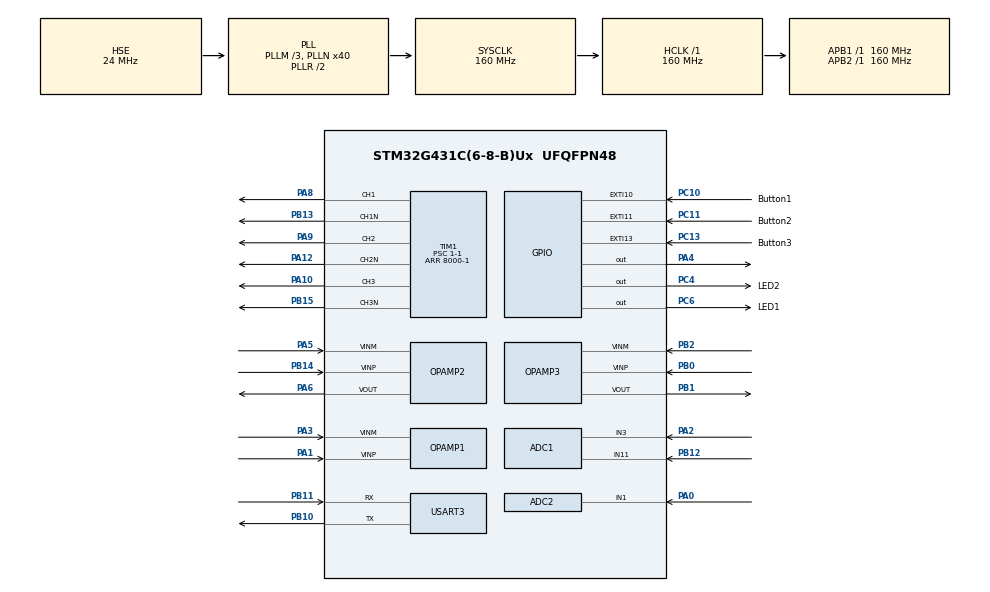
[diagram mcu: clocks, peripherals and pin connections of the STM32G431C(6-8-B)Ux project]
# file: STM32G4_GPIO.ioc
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ADC1.Channel-0\#ChannelRegularConversion=ADC_CHANNEL_11
ADC1.ClockPrescaler=ADC_CLOCK_ASYNC_DIV4
ADC1.EnableInjectedConversion=ENABLE
ADC1.ExternalTrigInjecConv=ADC_EXTERNALTRIGINJEC_T1_CC4
ADC1.InjNumberOfConversion=2
ADC1.InjectedChannel-1\#ChannelInjectedConversion=ADC_CHANNEL_3
ADC1.InjectedChannel-2\#ChannelInjectedConversion=ADC_CHANNEL_12
ADC1.InjectedOffsetNumber-1\#ChannelInjectedConversion=ADC_OFFSET_NONE
ADC1.InjectedOffsetNumber-2\#ChannelInjectedConversion=ADC_OFFSET_NONE
ADC1.InjectedRank-1\#ChannelInjectedConversion=1
ADC1.InjectedRank-2\#ChannelInjectedConversion=2
ADC1.InjectedSamplingTime-1\#ChannelInjectedConversion=ADC_SAMPLETIME_6CYCLES_5
ADC1.InjectedSamplingTime-2\#ChannelInjectedConversion=ADC_SAMPLETIME_6CYCLES_5
ADC1.NbrOfConversionFlag=1
ADC1.OffsetNumber-0\#ChannelRegularConversion=ADC_OFFSET_NONE
ADC1.Rank-0\#ChannelRegularConversion=1
ADC1.SamplingTime-0\#ChannelRegularConversion=ADC_SAMPLETIME_2CYCLES_5
ADC1.master=1
ADC2.Channel-2\#ChannelRegularConversion=ADC_CHANNEL_1
ADC2.ClockPrescaler=ADC_CLOCK_ASYNC_DIV4
ADC2.EnableInjectedConversion=ENABLE
ADC2.EnableRegularConversion=ENABLE
ADC2.ExternalTrigInjecConv=ADC_EXTERNALTRIGINJEC_T1_CC4
ADC2.InjNumberOfConversion=1
ADC2.InjectedChannel-1\#ChannelInjectedConversion=ADC_CHANNEL_3
ADC2.InjectedOffsetNumber-1\#ChannelInjectedConversion=ADC_OFFSET_NONE
ADC2.InjectedRank-1\#ChannelInjectedConversion=1
ADC2.InjectedSamplingTime-1\#ChannelInjectedConversion=ADC_SAMPLETIME_6CYCLES_5
ADC2.NbrOfConversionFlag=1
ADC2.OffsetNumber-2\#ChannelRegularConversion=ADC_OFFSET_NONE
ADC2.Rank-2\#ChannelRegularConversion=1
ADC2.SamplingTime-2\#ChannelRegularConversion=ADC_SAMPLETIME_2CYCLES_5
COMP1.TriggerMode=COMP_TRIGGERMODE_IT_RISING
COMP3.TriggerMode=COMP_TRIGGERMODE_IT_RISING
Dma.Request0=USART3_TX
Dma.USART3_TX.0.Direction=DMA_MEMORY_TO_PERIPH
Dma.USART3_TX.0.EventEnable=DISABLE
Dma.USART3_TX.0.Instance=DMA1_Channel1
Dma.USART3_TX.0.MemDataAlignment=DMA_MDATAALIGN_BYTE
Dma.USART3_TX.0.MemInc=DMA_MINC_ENABLE
Dma.USART3_TX.0.Mode=DMA_NORMAL
Dma.USART3_TX.0.PeriphDataAlignment=DMA_PDATAALIGN_BYTE
Dma.USART3_TX.0.PeriphInc=DMA_PINC_DISABLE
Dma.USART3_TX.0.Polarity=HAL_DMAMUX_REQ_GEN_RISING
Dma.USART3_TX.0.Priority=DMA_PRIORITY_LOW
Dma.USART3_TX.0.RequestNumber=1
Dma.USART3_TX.0.SignalID=NONE
Dma.USART3_TX.0.SyncEnable=DISABLE
Dma.USART3_TX.0.SyncPolarity=HAL_DMAMUX_SYNC_NO_EVENT
Dma.USART3_TX.0.SyncRequestNumber=1
Dma.USART3_TX.0.SyncSignalID=NONE
Mcu.Family=STM32G4
Mcu.Name=STM32G431C(6-8-B)Ux
Mcu.Package=UFQFPN48
NVIC.ADC1_2_IRQn=true\:0\:0\:false\:false\:true\:true\:true
NVIC.COMP1_2_3_IRQn=true\:0\:0\:false\:false\:true\:false\:true
NVIC.DMA1_Channel1_IRQn=true\:0\:0\:false\:false\:true\:false\:true
NVIC.EXTI15_10_IRQn=true\:0\:0\:false\:false\:true\:true\:true
NVIC.PriorityGroup=NVIC_PRIORITYGROUP_4
NVIC.TIM1_BRK_TIM15_IRQn=true\:0\:0\:false\:false\:true\:true\:true
NVIC.TIM1_CC_IRQn=true\:0\:0\:false\:false\:true\:true\:true
NVIC.TIM1_UP_TIM16_IRQn=true\:0\:0\:false\:false\:true\:true\:true
NVIC.USART3_IRQn=true\:0\:0\:false\:false\:true\:true\:true
PA0.Signal=SharedAnalog_PA0
PA1.Mode=Standalone
PA1.Signal=OPAMP1_VINP
PA10.Signal=S_TIM1_CH3
PA12.Mode=PWM Generation2 CH2 CH2N
PA12.Signal=TIM1_CH2N
PA13.Mode=Serial_Wire
PA13.Signal=SYS_JTMS-SWDIO
PA14.Mode=Serial_Wire
PA14.Signal=SYS_JTCK-SWCLK
PA2.Signal=SharedAnalog_PA2
PA3.Mode=Standalone
PA3.Signal=OPAMP1_VINM
PA4.Signal=GPIO_Output
PA5.Mode=Standalone
PA5.Signal=OPAMP2_VINM
PA6.Signal=SharedAnalog_PA6
PA8.Signal=S_TIM1_CH1
PA9.Signal=S_TIM1_CH2
PB0.Mode=Standalone
PB0.Signal=OPAMP3_VINP
PB1.Signal=SharedAnalog_PB1
PB10.Mode=Asynchronous
PB10.Signal=USART3_TX
PB11.Mode=Asynchronous
PB11.Signal=USART3_RX
PB12.Mode=IN11-Single-Ended
PB12.Signal=ADC1_IN11
PB13.Mode=PWM Generation1 CH1 CH1N
PB13.Signal=TIM1_CH1N
PB14.Mode=Standalone
PB14.Signal=OPAMP2_VINP
PB15.Mode=PWM Generation3 CH3 CH3N
PB15.Signal=TIM1_CH3N
PB2.Mode=Standalone
PB2.Signal=OPAMP3_VINM
PC10.GPIO_Label=Button1
PC10.Signal=GPXTI10
PC11.GPIO_Label=Button2
PC11.Signal=GPXTI11
PC13.GPIO_Label=Button3
PC13.Signal=GPXTI13
PC4.GPIO_Label=LED2
PC4.Signal=GPIO_Output
PC6.GPIO_Label=LED1
PC6.Signal=GPIO_Output
PF0-OSC_IN.Mode=HSE-External-Oscillator
PF0-OSC_IN.Signal=RCC_OSC_IN
PF1-OSC_OUT.Mode=HSE-External-Oscillator
PF1-OSC_OUT.Signal=RCC_OSC_OUT
ProjectManager.HeapSize=0x200
ProjectManager.StackSize=0x400
ProjectManager.TargetToolchain=MDK-ARM V5.32
RCC.ADC12Freq_Value=160000000
RCC.AHBFreq_Value=160000000
RCC.APB1Freq_Value=160000000
RCC.APB1TimFreq_Value=160000000
RCC.APB2Freq_Value=160000000
RCC.APB2TimFreq_Value=160000000
RCC.CortexFreq_Value=160000000
RCC.EXTERNAL_CLOCK_VALUE=12288000
RCC.HCLKFreq_Value=160000000
RCC.HSE_VALUE=24000000
RCC.HSI48_VALUE=48000000
RCC.HSI_VALUE=16000000
RCC.LSE_VALUE=32768
RCC.PLLM=RCC_PLLM_DIV3
RCC.PLLN=40
RCC.PLLSourceVirtual=RCC_PLLSOURCE_HSE
RCC.SYSCLKFreq_VALUE=160000000
RCC.SYSCLKSource=RCC_SYSCLKSOURCE_PLLCLK
RCC.USBFreq_Value=160000000
RCC.VCOOutputFreq_Value=320000000
SH.S_TIM1_CH1.0=TIM1_CH1,PWM Generation1 CH1 CH1N
SH.S_TIM1_CH2.0=TIM1_CH2,PWM Generation2 CH2 CH2N
SH.S_TIM1_CH3.0=TIM1_CH3,PWM Generation3 CH3 CH3N
SH.SharedAnalog_PA0.0=ADC2_IN1,IN1-Single-Ended
SH.SharedAnalog_PA0.1=COMP3_INP,INP
SH.SharedAnalog_PA2.0=ADC1_IN3,IN3-Single-Ended
SH.SharedAnalog_PA2.1=OPAMP1_VOUT,Standalone
SH.SharedAnalog_PA6.0=OPAMP2_VOUT,Standalone
SH.SharedAnalog_PA6.1=ADC2_IN3,IN3-Single-Ended
SH.SharedAnalog_PB1.0=OPAMP3_VOUT,Standalone
SH.SharedAnalog_PB1.1=ADC1_IN12,IN12-Single-Ended
SH.SharedAnalog_PB1.2=COMP1_INP,INP
TIM1.BreakFilter=2
TIM1.BreakState=TIM_BREAK_ENABLE
TIM1.Channel-PWM\ Generation1\ CH1\ CH1N=TIM_CHANNEL_1
TIM1.Channel-PWM\ Generation2\ CH2\ CH2N=TIM_CHANNEL_2
TIM1.Channel-PWM\ Generation3\ CH3\ CH3N=TIM_CHANNEL_3
TIM1.Channel-PWM\ Generation4\ No\ Output=TIM_CHANNEL_4
TIM1.ClockDivision=TIM_CLOCKDIVISION_DIV2
TIM1.CounterMode=TIM_COUNTERMODE_CENTERALIGNED1
TIM1.DeadTime=120
TIM1.OCMode_PWM-PWM\ Generation4\ No\ Output=TIM_OCMODE_PWM2
TIM1.PeriodNoDither=8000-1
TIM1.Prescaler=1-1
TIM1.PulseNoDither_4=8000-2
TIM1.RepetitionCounter=1
TIM1.SourceBRKCOMP1=TIM_BREAKINPUTSOURCE_ENABLE
TIM1.TIM_MasterOutputTrigger=TIM_TRGO_OC4REF
USART3.VirtualMode-Asynchronous=VM_ASYNC
VP_COMP1_VS_DAC3OUT1.Mode=INM_DAC3OUT1
VP_COMP3_VS_DAC1OUT1.Mode=INM_DAC1OUT1
VP_DAC1_VS_DACI1.Mode=DAC_OUT1_Int
VP_DAC3_VS_DACI1.Mode=DAC_OUT1_Int
VP_SYS_VS_DBSignals.Mode=DisableDeadBatterySignals
VP_TIM1_VS_ClockSourceINT.Mode=Internal
VP_TIM1_VS_no_output4.Mode=PWM Generation4 No Output
board=custom

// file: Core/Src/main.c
/* USER CODE BEGIN Header */
/**
  ******************************************************************************
  * @file           : main.c
  * @brief          : Main program body
  ******************************************************************************
  * @attention
  *
  * <h2><center>&copy; Copyright (c) 2023 STMicroelectronics.
  * All rights reserved.</center></h2>
  *
  * This software component is licensed by ST under BSD 3-Clause license,
  * the "License"; You may not use this file except in compliance with the
  * License. You may obtain a copy of the License at:
  *                        opensource.org/licenses/BSD-3-Clause
  *
  ******************************************************************************
  */
/* USER CODE END Header */
#include "main.h"
#include "adc.h"
#include "comp.h"
#include "dac.h"
#include "dma.h"
#include "opamp.h"
#include "tim.h"
#include "usart.h"
#include "gpio.h"

/* USER CODE BEGIN Includes */
#include <stdio.h>
#include <string.h>
/* USER CODE END Includes */

/* USER CODE BEGIN PV */
extern DMA_HandleTypeDef hdma_usart3_tx;
uint8_t DataB1[32] = "LED1 Toggle\r\n";
uint8_t DataB2[32] = "LED2 Toggle\r\n";
uint8_t DataB3[32] = "LED1 and LED2 Open\r\n";

#define RXBUFFERSIZE  256
char RxBuffer[RXBUFFERSIZE];
uint8_t aRxBuffer;
uint8_t Uart1_Rx_Cnt = 0;

float Vbus,Ia,Ib,Ic;
uint16_t IA_Offset,IB_Offset,IC_Offset;
uint16_t adc1_in1, adc1_in2, adc1_in3, Vpoten, adc_vbus;
uint8_t ADC_offset = 0;

float load_data[5];
static uint8_t tempData[24] = {0,0,0,0,0,0,0,0,0,0,0,0,0,0,0,0,0,0,0,0,0,0,0x80,0x7F};
/* USER CODE END PV */

void SystemClock_Config(void);

int main(void)
{

  /* MCU Configuration--------------------------------------------------------*/

  /* Reset of all peripherals, Initializes the Flash interface and the Systick. */
  HAL_Init();

  /* Configure the system clock */
  SystemClock_Config();

  /* Initialize all configured peripherals */
  MX_GPIO_Init();
  MX_DMA_Init();
  MX_USART3_UART_Init();
  MX_ADC1_Init();
  MX_ADC2_Init();
  MX_OPAMP1_Init();
  MX_OPAMP2_Init();
  MX_OPAMP3_Init();
  MX_TIM1_Init();
  MX_COMP1_Init();
  MX_COMP3_Init();
  MX_DAC1_Init();
  MX_DAC3_Init();
  /* USER CODE BEGIN 2 */
	HAL_OPAMP_Start(&hopamp1);
	HAL_OPAMP_Start(&hopamp2);
	HAL_OPAMP_Start(&hopamp3);
	HAL_UART_Receive_IT(&huart3, (uint8_t *)&aRxBuffer, 1);
	HAL_ADCEx_Calibration_Start( &hadc1, ADC_SINGLE_ENDED);
	HAL_ADCEx_Calibration_Start( &hadc2, ADC_SINGLE_ENDED);
	TIM1->ARR = 8000 - 1;
	TIM1->CCR4 = 8000 - 2;
	HAL_TIM_Base_Start( &htim1);
	HAL_TIM_PWM_Start( &htim1, TIM_CHANNEL_4);
	HAL_ADCEx_InjectedStart_IT(&hadc1);
	HAL_ADCEx_InjectedStart(&hadc2);
	HAL_DAC_Start(&hdac3,DAC_CHANNEL_1);
	HAL_DAC_SetValue(&hdac3,DAC_CHANNEL_1,DAC_ALIGN_12B_R,3000);
	HAL_COMP_Start (&hcomp1);
  /* USER CODE END 2 */

  /* Infinite loop */
  /* USER CODE BEGIN WHILE */
  while (1)
  {
		HAL_ADC_Start(&hadc1);
		HAL_ADC_Start(&hadc2);
		Vpoten = HAL_ADC_GetValue(&hadc1);
		adc_vbus = HAL_ADC_GetValue(&hadc2);
		Vbus = adc_vbus*3.3f/4096*26;
		HAL_Delay(10);
    /* USER CODE END WHILE */

  }
}

void SystemClock_Config(void)
{
  RCC_OscInitTypeDef RCC_OscInitStruct = {0};
  RCC_ClkInitTypeDef RCC_ClkInitStruct = {0};
  RCC_PeriphCLKInitTypeDef PeriphClkInit = {0};

  /** Configure the main internal regulator output voltage
  */
  HAL_PWREx_ControlVoltageScaling(PWR_REGULATOR_VOLTAGE_SCALE1_BOOST);
  /** Initializes the RCC Oscillators according to the specified parameters
  * in the RCC_OscInitTypeDef structure.
  */
  RCC_OscInitStruct.OscillatorType = RCC_OSCILLATORTYPE_HSE;
  RCC_OscInitStruct.HSEState = RCC_HSE_ON;
  RCC_OscInitStruct.PLL.PLLState = RCC_PLL_ON;
  RCC_OscInitStruct.PLL.PLLSource = RCC_PLLSOURCE_HSE;
  RCC_OscInitStruct.PLL.PLLM = RCC_PLLM_DIV3;
  RCC_OscInitStruct.PLL.PLLN = 40;
  RCC_OscInitStruct.PLL.PLLP = RCC_PLLP_DIV2;
  RCC_OscInitStruct.PLL.PLLQ = RCC_PLLQ_DIV2;
  RCC_OscInitStruct.PLL.PLLR = RCC_PLLR_DIV2;
  if (HAL_RCC_OscConfig(&RCC_OscInitStruct) != HAL_OK)
  {
    Error_Handler();
  }
  /** Initializes the CPU, AHB and APB buses clocks
  */
  RCC_ClkInitStruct.ClockType = RCC_CLOCKTYPE_HCLK|RCC_CLOCKTYPE_SYSCLK
                              |RCC_CLOCKTYPE_PCLK1|RCC_CLOCKTYPE_PCLK2;
  RCC_ClkInitStruct.SYSCLKSource = RCC_SYSCLKSOURCE_PLLCLK;
  RCC_ClkInitStruct.AHBCLKDivider = RCC_SYSCLK_DIV1;
  RCC_ClkInitStruct.APB1CLKDivider = RCC_HCLK_DIV1;
  RCC_ClkInitStruct.APB2CLKDivider = RCC_HCLK_DIV1;

  if (HAL_RCC_ClockConfig(&RCC_ClkInitStruct, FLASH_LATENCY_4) != HAL_OK)
  {
    Error_Handler();
  }
  /** Initializes the peripherals clocks
  */
  PeriphClkInit.PeriphClockSelection = RCC_PERIPHCLK_USART3|RCC_PERIPHCLK_ADC12;
  PeriphClkInit.Usart3ClockSelection = RCC_USART3CLKSOURCE_PCLK1;
  PeriphClkInit.Adc12ClockSelection = RCC_ADC12CLKSOURCE_SYSCLK;
  if (HAL_RCCEx_PeriphCLKConfig(&PeriphClkInit) != HAL_OK)
  {
    Error_Handler();
  }
}

/* USER CODE BEGIN 4 */

void HAL_GPIO_EXTI_Callback(uint16_t GPIO_Pin)
{
  /* Prevent unused argument(s) compilation warning */
  UNUSED(GPIO_Pin);
	if(Button2_Pin == GPIO_Pin)
	{
		HAL_TIM_PWM_Start( &htim1, TIM_CHANNEL_1);
		HAL_TIM_PWM_Start( &htim1, TIM_CHANNEL_2);
		HAL_TIM_PWM_Start( &htim1, TIM_CHANNEL_3);
		HAL_TIMEx_PWMN_Start( &htim1, TIM_CHANNEL_1);
		HAL_TIMEx_PWMN_Start( &htim1, TIM_CHANNEL_2);
		HAL_TIMEx_PWMN_Start( &htim1, TIM_CHANNEL_3);
	}
	if(Button3_Pin == GPIO_Pin)
	{
		HAL_TIM_PWM_Stop( &htim1, TIM_CHANNEL_1);
		HAL_TIM_PWM_Stop( &htim1, TIM_CHANNEL_2);
		HAL_TIM_PWM_Stop( &htim1, TIM_CHANNEL_3);
		HAL_TIMEx_PWMN_Stop( &htim1, TIM_CHANNEL_1);
		HAL_TIMEx_PWMN_Stop( &htim1, TIM_CHANNEL_2);
		HAL_TIMEx_PWMN_Stop( &htim1, TIM_CHANNEL_3);
	}
  /* NOTE: This function should not be modified, when the callback is needed,
           the HAL_GPIO_EXTI_Callback could be implemented in the user file
   */
}

void HAL_UART_RxCpltCallback(UART_HandleTypeDef *huart)
{
  /* Prevent unused argument(s) compilation warning */
  UNUSED(huart);
	if(Uart1_Rx_Cnt >= 255)
	{
		Uart1_Rx_Cnt = 0;
		memset(RxBuffer,0x00,sizeof(RxBuffer));
		HAL_UART_Transmit(&huart3, (uint8_t *)"????", 10,0xFFFF);
	}
	else
	{
		RxBuffer[Uart1_Rx_Cnt++] = aRxBuffer;
//		Uart1_Rx_Cnt = 0;
//		memset(RxBuffer,0x00,sizeof(RxBuffer));
	}
	HAL_UART_Receive_IT(&huart3, (uint8_t *)&aRxBuffer, 1);
  /* NOTE: This function should not be modified, when the callback is needed,
           the HAL_UART_TxHalfCpltCallback can be implemented in the user file.
   */
}

int fputc(int ch, FILE *f)
{
 while ((USART3->ISR & 0X40) == 0);
 USART3->TDR = (uint8_t)ch;
 return ch;
}

void HAL_ADCEx_InjectedConvCpltCallback(ADC_HandleTypeDef *hadc)
{
	static uint8_t cnt;
  /* Prevent unused argument(s) compilation warning */
  UNUSED(hadc);
	if(hadc == &hadc1)
	{
		if(ADC_offset == 0)
		{
			cnt++;
			adc1_in1 = hadc1.Instance->JDR1;
			adc1_in2 = hadc2.Instance->JDR1;
			adc1_in3 = hadc1.Instance->JDR2;
			IA_Offset += adc1_in1;
			IB_Offset += adc1_in2;
			IC_Offset += adc1_in3;
			if(cnt >= 10)
			{
				ADC_offset = 1;
				IA_Offset = IA_Offset/10;
				IB_Offset = IB_Offset/10;
				IC_Offset = IC_Offset/10;
			}
		}
		else
		{
			HAL_GPIO_TogglePin(GPIOA,GPIO_PIN_4);
			adc1_in1 = hadc1.Instance->JDR1;
			Ia = (adc1_in1 - IA_Offset)*0.0193359375f;
			adc1_in2 = hadc2.Instance->JDR1;
			Ib = (adc1_in2 - IB_Offset)*0.0193359375f;
			adc1_in3 = hadc1.Instance->JDR2;
			Ic = (adc1_in3 - IC_Offset)*0.0193359375f;
			TIM1->CCR1 = 2000;
			TIM1->CCR2 = 4000;
			TIM1->CCR3 = 6000;
			load_data[0] = Ia;
			load_data[1] = Ib;
			load_data[2] = Ic;
			load_data[3] = 0;
			load_data[4] = 0;
			memcpy(tempData, (uint8_t *)&load_data, sizeof(load_data));
			HAL_UART_Transmit_DMA(&huart3,(uint8_t *)tempData,6*4);
		}
	}
  /* NOTE : This function should not be modified. When the callback is needed,
            function HAL_ADCEx_InjectedConvCpltCallback must be implemented in the user file.
  */
}

/* USER CODE END 4 */

void Error_Handler(void)
{
  __disable_irq();
  while (1)
  {
  }
}

/************************ (C) COPYRIGHT STMicroelectronics *****END OF FILE****/
